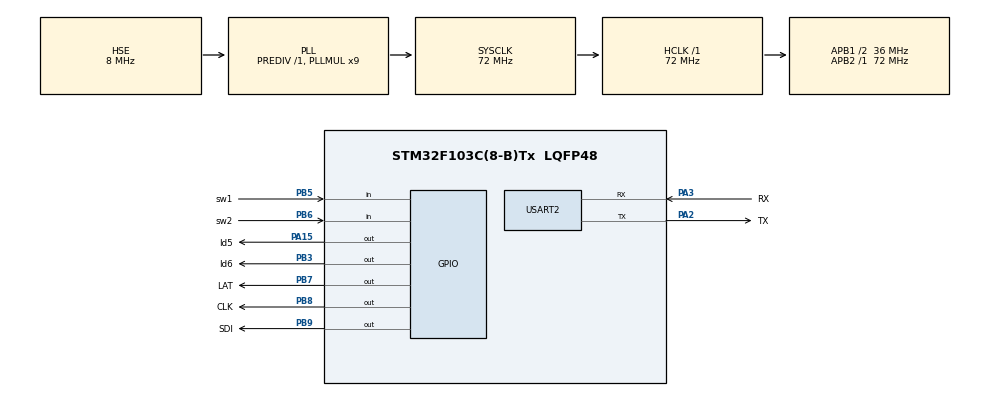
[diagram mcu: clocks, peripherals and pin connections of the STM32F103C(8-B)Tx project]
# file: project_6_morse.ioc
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Mcu.Family=STM32F1
Mcu.Name=STM32F103C(8-B)Tx
Mcu.Package=LQFP48
NVIC.PriorityGroup=NVIC_PRIORITYGROUP_4
PA13.Mode=Serial_Wire
PA13.Signal=SYS_JTMS-SWDIO
PA14.Mode=Serial_Wire
PA14.Signal=SYS_JTCK-SWCLK
PA15.GPIO_Label=ld5
PA15.Signal=GPIO_Output
PA2.GPIO_Label=TX
PA2.Mode=Asynchronous
PA2.Signal=USART2_TX
PA3.GPIO_Label=RX
PA3.Mode=Asynchronous
PA3.Signal=USART2_RX
PB3.GPIO_Label=ld6
PB3.Signal=GPIO_Output
PB5.GPIO_Label=sw1
PB5.Signal=GPIO_Input
PB6.GPIO_Label=sw2
PB6.Signal=GPIO_Input
PB7.GPIO_Label=LAT
PB7.Signal=GPIO_Output
PB8.GPIO_Label=CLK
PB8.Signal=GPIO_Output
PB9.GPIO_Label=SDI
PB9.Signal=GPIO_Output
PD0-OSC_IN.Mode=HSE-External-Oscillator
PD0-OSC_IN.Signal=RCC_OSC_IN
PD1-OSC_OUT.Mode=HSE-External-Oscillator
PD1-OSC_OUT.Signal=RCC_OSC_OUT
ProjectManager.HeapSize=0x200
ProjectManager.StackSize=0x400
ProjectManager.TargetToolchain=MDK-ARM V5.32
RCC.AHBFreq_Value=72000000
RCC.APB1CLKDivider=RCC_HCLK_DIV2
RCC.APB1Freq_Value=36000000
RCC.APB1TimFreq_Value=72000000
RCC.APB2Freq_Value=72000000
RCC.APB2TimFreq_Value=72000000
RCC.HCLKFreq_Value=72000000
RCC.PLLMUL=RCC_PLL_MUL9
RCC.PLLSourceVirtual=RCC_PLLSOURCE_HSE
RCC.SYSCLKFreq_VALUE=72000000
RCC.SYSCLKSource=RCC_SYSCLKSOURCE_PLLCLK
RCC.USBFreq_Value=72000000
USART2.VirtualMode=VM_ASYNC
board=custom

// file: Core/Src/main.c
/* USER CODE BEGIN Header */
/**
  ******************************************************************************
  * @file           : main.c
  * @brief          : Main program body
  ******************************************************************************
  * @attention
  *
  * Copyright (c) 2024 STMicroelectronics.
  * All rights reserved.
  *
  * This software is licensed under terms that can be found in the LICENSE file
  * in the root directory of this software component.
  * If no LICENSE file comes with this software, it is provided AS-IS.
  *
  ******************************************************************************
  */
/* USER CODE END Header */
#include "main.h"
#include "usart.h"
#include "gpio.h"

/* USER CODE BEGIN Includes */
#include "string.h"
#include "..\..\..\required\display.h"
/* USER CODE END Includes */

/* USER CODE BEGIN PTD */
uint32_t InTime = 0,OutTime = 0, Time = 0, now = 0;
uint8_t pressed = 0, i = 0, flag = 0, correct= 0;
char Value[5] = {0,0,0,0,0};
char alphabet;
/* USER CODE END PTD */

/* USER CODE BEGIN PD */
typedef struct {
    char* morse;
    char letter;
} MorseStruct;

const MorseStruct Dictionary[] = {
    { ".-", 'A' }, { "-...", 'B' }, { "-.-.", 'C' }, { "-..", 'D' },
    { ".", 'E' }, { "..-.", 'F' }, { "--.", 'G' }, { "....", 'H' },
    { "..", 'I' }, { ".---", 'J' }, { "-.-", 'K' }, { ".-..", 'L' },
    { "--", 'M' }, { "-.", 'N' }, { "---", 'O' }, { ".--.", 'P' },
    { "--.-", 'Q' }, { ".-.", 'R' }, { "...", 'S' }, { "-", 'T' },
    { "..-", 'U' }, { "...-", 'V' }, { ".--", 'W' }, { "-..-", 'X' },
    { "-.--", 'Y' }, { "--..", 'Z' },
    { "-----", '0' }, { ".----", '1' }, { "..---", '2' }, { "...--", '3' },
    { "....-", '4' }, { ".....", '5' }, { "-....", '6' }, { "--...", '7' },
    { "---..", '8' }, { "----.", '9' },
};

char Translate(char* Code) {
    for (int j = 0; j < sizeof(Dictionary) / sizeof(MorseStruct); j++)
	  {
			if (strcmp(Code , Dictionary[j].morse) == 0)
				{
					  HAL_GPIO_WritePin(ld5_GPIO_Port, ld5_Pin, GPIO_PIN_SET);
            return Dictionary[j].letter;
						correct = 1;
        }
    }
		if(correct != 1) {return '?';		correct = 0; }
}
/* USER CODE END PD */

void SystemClock_Config(void);

/* USER CODE BEGIN 0 */
void HAL_SYSTICK_Callback(void)		{DisplayRun();}
void EndLetter (void)
{
	i = 0;
	alphabet = Translate(Value);
	uint8_t alphabet_char = (uint8_t) alphabet;
	HAL_UART_Transmit(&huart2, &alphabet_char , 1 , 100);
	HAL_GPIO_TogglePin(ld6_GPIO_Port, ld6_Pin);
	for (int k=0 ;k<5 ;k++)
	{
		Value[k] = 0 ;
	}
}
void Dot(void)
{

	Value[i++] = '.';
	if (i == 6) EndLetter();

}

void Dash(void)
{
	Value[i++] = '-';
	if (i == 6) EndLetter();
}

/* USER CODE END 0 */

int main(void)
{

  /* MCU Configuration--------------------------------------------------------*/

  /* Reset of all peripherals, Initializes the Flash interface and the Systick. */
  HAL_Init();

  /* Configure the system clock */
  SystemClock_Config();

  /* Initialize all configured peripherals */
  MX_GPIO_Init();
  MX_USART2_UART_Init();

  /* Infinite loop */
  /* USER CODE BEGIN WHILE */
  while (1)
  {
		DisplayNumber(pressed);
		// Read the button state
        if (HAL_GPIO_ReadPin(sw2_GPIO_Port, sw2_Pin) == GPIO_PIN_RESET)
				{
						HAL_Delay(50);  //debounce
						if (HAL_GPIO_ReadPin(sw2_GPIO_Port, sw2_Pin) == GPIO_PIN_RESET)
						{
							if (!pressed)
								{
									InTime = HAL_GetTick();
									flag = 0;
									pressed = 1;
								}
						}
        }
				else
   			{
						HAL_Delay(50); //debounce
						if (HAL_GPIO_ReadPin(sw2_GPIO_Port, sw2_Pin) == GPIO_PIN_SET)
						{
							if (pressed)
								{
									OutTime = HAL_GetTick();
									Time = OutTime - InTime;

									if (Time > 1000) 			Dash();
									else 								  Dot();

									pressed = 0;
									flag = 1;
									HAL_Delay(1000); // Wait before detecting the next press
								}
						}
       }
				if (flag ==  1)
				{
					now = HAL_GetTick();
					if (now - OutTime >= 3000) {EndLetter();	flag = 0;}

				}
					/* USER CODE END WHILE */

  }
}

void SystemClock_Config(void)
{
  RCC_OscInitTypeDef RCC_OscInitStruct = {0};
  RCC_ClkInitTypeDef RCC_ClkInitStruct = {0};

  /** Initializes the RCC Oscillators according to the specified parameters
  * in the RCC_OscInitTypeDef structure.
  */
  RCC_OscInitStruct.OscillatorType = RCC_OSCILLATORTYPE_HSE;
  RCC_OscInitStruct.HSEState = RCC_HSE_ON;
  RCC_OscInitStruct.HSEPredivValue = RCC_HSE_PREDIV_DIV1;
  RCC_OscInitStruct.HSIState = RCC_HSI_ON;
  RCC_OscInitStruct.PLL.PLLState = RCC_PLL_ON;
  RCC_OscInitStruct.PLL.PLLSource = RCC_PLLSOURCE_HSE;
  RCC_OscInitStruct.PLL.PLLMUL = RCC_PLL_MUL9;
  if (HAL_RCC_OscConfig(&RCC_OscInitStruct) != HAL_OK)
  {
    Error_Handler();
  }

  /** Initializes the CPU, AHB and APB buses clocks
  */
  RCC_ClkInitStruct.ClockType = RCC_CLOCKTYPE_HCLK|RCC_CLOCKTYPE_SYSCLK
                              |RCC_CLOCKTYPE_PCLK1|RCC_CLOCKTYPE_PCLK2;
  RCC_ClkInitStruct.SYSCLKSource = RCC_SYSCLKSOURCE_PLLCLK;
  RCC_ClkInitStruct.AHBCLKDivider = RCC_SYSCLK_DIV1;
  RCC_ClkInitStruct.APB1CLKDivider = RCC_HCLK_DIV2;
  RCC_ClkInitStruct.APB2CLKDivider = RCC_HCLK_DIV1;

  if (HAL_RCC_ClockConfig(&RCC_ClkInitStruct, FLASH_LATENCY_2) != HAL_OK)
  {
    Error_Handler();
  }
}

void Error_Handler(void)
{
  __disable_irq();
  while (1)
  {
  }
}
